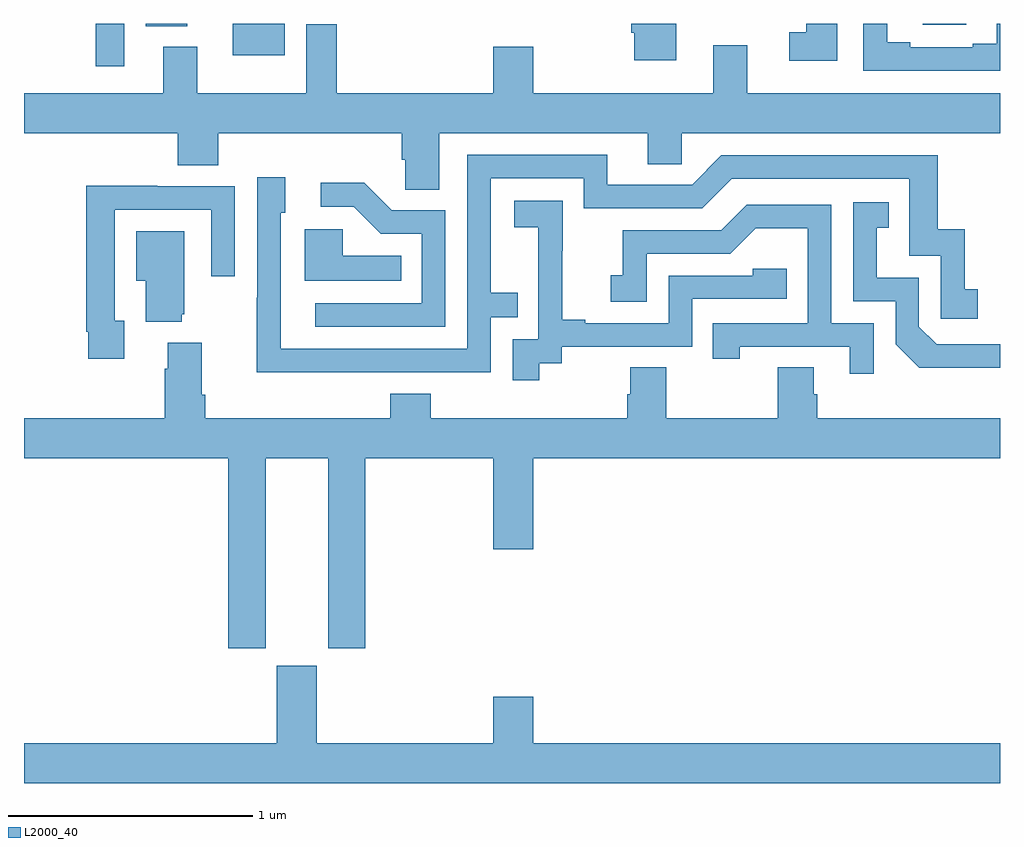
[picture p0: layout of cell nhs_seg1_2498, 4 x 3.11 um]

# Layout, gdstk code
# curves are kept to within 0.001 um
import gdstk
lib = gdstk.Library(unit=1e-6, precision=1e-09)
def R(c, l, rs):  # rectangles x0, y0, x1, y1
    for r in rs: c.add(gdstk.rectangle(r[:2], r[2:], *l))
def P(c, l, *ps):  # polygons
    for p in ps: c.add(gdstk.Polygon(p, *l))
L2000_40 = (2000, 40)

nhs_seg1_2498 = lib.new_cell('nhs_seg1_2498')
R(nhs_seg1_2498, L2000_40, [(247.294,532.026,247.41,532.199), (247.856,532.07,248.068,532.199), (247.499,532.19,247.669,532.199), (250.683,532.195,250.862,532.199)])
P(nhs_seg1_2498, L2000_40, [(251,532.199),(250.986,532.199),(250.986,532.118),(250.889,532.118),(250.889,532.104),(250.633,532.104),(250.633,532.124),(250.537,532.124),(250.537,532.199),(250.44,532.199),(250.44,532.008),(251,532.008)],
  [(249.673,532.199),(249.488,532.199),(249.488,532.162),(249.5,532.162),(249.5,532.05),(249.673,532.05)],
  [(250.333,532.199),(250.205,532.199),(250.205,532.164),(250.137,532.164),(250.137,532.049),(250.333,532.049)],
  [(248.701,531.752),(249.557,531.752),(249.557,531.625),(249.696,531.625),(249.696,531.752),(251,531.752),(251,531.916),(249.964,531.916),(249.964,532.111),(249.824,532.111),(249.824,531.916),(249.088,531.916),(249.088,532.105),(248.924,532.105),(248.924,531.916),(248.282,531.916),(248.282,532.198),(248.156,532.198),(248.156,531.916),(247.711,531.916),(247.711,532.105),(247.571,532.105),(247.571,531.916),(247,531.916),(247,531.752),(247.631,531.752),(247.631,531.619),(247.796,531.619),(247.796,531.752),(248.549,531.752),(248.549,531.643),(248.562,531.643),(248.562,531.52),(248.701,531.52)],
  [(248.417,530.772),(248.913,530.772),(248.913,530.997),(249.023,530.997),(249.023,531.098),(248.913,531.098),(248.913,531.567),(249.294,531.567),(249.294,531.444),(249.78,531.444),(249.9,531.564),(250.629,531.564),(250.629,531.249),(250.758,531.249),(250.758,530.991),(250.909,530.991),(250.909,531.111),(250.856,531.111),(250.856,531.358),(250.745,531.358),(250.745,531.66),(249.858,531.66),(249.738,531.54),(249.391,531.54),(249.391,531.663),(248.817,531.663),(248.817,530.868),(248.053,530.868),(248.052,531.426),(248.071,531.426),(248.071,531.571),(247.956,531.571),(247.956,531.077),(247.954,531.077),(247.954,530.771)],
  [(248.727,531.435),(248.508,531.435),(248.395,531.548),(248.217,531.548),(248.217,531.45),(248.351,531.45),(248.462,531.339),(248.631,531.339),(248.631,531.054),(248.193,531.054),(248.193,530.958),(248.727,530.958)],
  [(247.411,530.982),(247.371,530.982),(247.371,531.438),(247.767,531.438),(247.767,531.165),(247.863,531.165),(247.863,531.534),(247.547,531.534),(247.547,531.536),(247.255,531.536),(247.255,530.938),(247.263,530.938),(247.263,530.826),(247.411,530.826)],
  [(249.112,530.809),(249.204,530.809),(249.204,530.877),(249.738,530.877),(249.738,531.072),(250.127,531.072),(250.127,531.195),(249.987,531.195),(249.987,531.168),(249.642,531.168),(249.642,530.973),(249.301,530.973),(249.301,530.986),(249.206,530.986),(249.206,531.269),(249.207,531.269),(249.207,531.475),(249.009,531.475),(249.009,531.365),(249.107,531.365),(249.107,531.137),(249.108,531.137),(249.108,530.907),(249.003,530.907),(249.003,530.739),(249.112,530.739)],
  [(251,530.886),(250.74,530.886),(250.668,530.958),(250.668,531.159),(250.495,531.159),(250.495,531.363),(250.544,531.363),(250.544,531.469),(250.398,531.469),(250.398,531.063),(250.572,531.063),(250.572,530.886),(250.67,530.789),(251,530.789)],
  [(250.482,530.973),(250.308,530.973),(250.308,531.459),(249.962,531.459),(249.857,531.354),(249.454,531.354),(249.454,531.169),(249.405,531.169),(249.405,531.06),(249.552,531.06),(249.552,531.258),(249.894,531.258),(249.998,531.362),(250.212,531.362),(250.212,530.973),(249.823,530.973),(249.823,530.826),(249.934,530.826),(249.934,530.877),(250.385,530.877),(250.385,530.766),(250.482,530.766)],
  [(248.546,531.25),(248.307,531.25),(248.307,531.358),(248.15,531.358),(248.15,531.146),(248.546,531.146)],
  [(247.646,531.009),(247.657,531.009),(247.657,531.349),(247.46,531.349),(247.46,531.146),(247.499,531.146),(247.499,530.978),(247.646,530.978)],
  [(247.99,530.42),(248.246,530.42),(248.246,529.641),(248.399,529.641),(248.399,530.42),(248.924,530.42),(248.924,530.046),(249.088,530.046),(249.088,530.42),(251,530.42),(251,530.584),(250.25,530.584),(250.25,530.682),(250.237,530.682),(250.237,530.792),(250.09,530.792),(250.09,530.584),(249.633,530.584),(249.633,530.792),(249.485,530.792),(249.485,530.682),(249.473,530.682),(249.473,530.584),(248.666,530.584),(248.666,530.683),(248.501,530.683),(248.501,530.584),(247.742,530.584),(247.742,530.68),(247.729,530.68),(247.729,530.893),(247.589,530.893),(247.589,530.786),(247.577,530.786),(247.577,530.584),(247,530.584),(247,530.42),(247.838,530.42),(247.838,529.641),(247.99,529.641)],
  [(251,529.252),(249.088,529.252),(249.088,529.441),(248.924,529.441),(248.924,529.252),(248.2,529.252),(248.2,529.569),(248.036,529.569),(248.036,529.252),(247,529.252),(247,529.088),(251,529.088)])

lib.write_gds('nhs_seg1_2498.gds')
